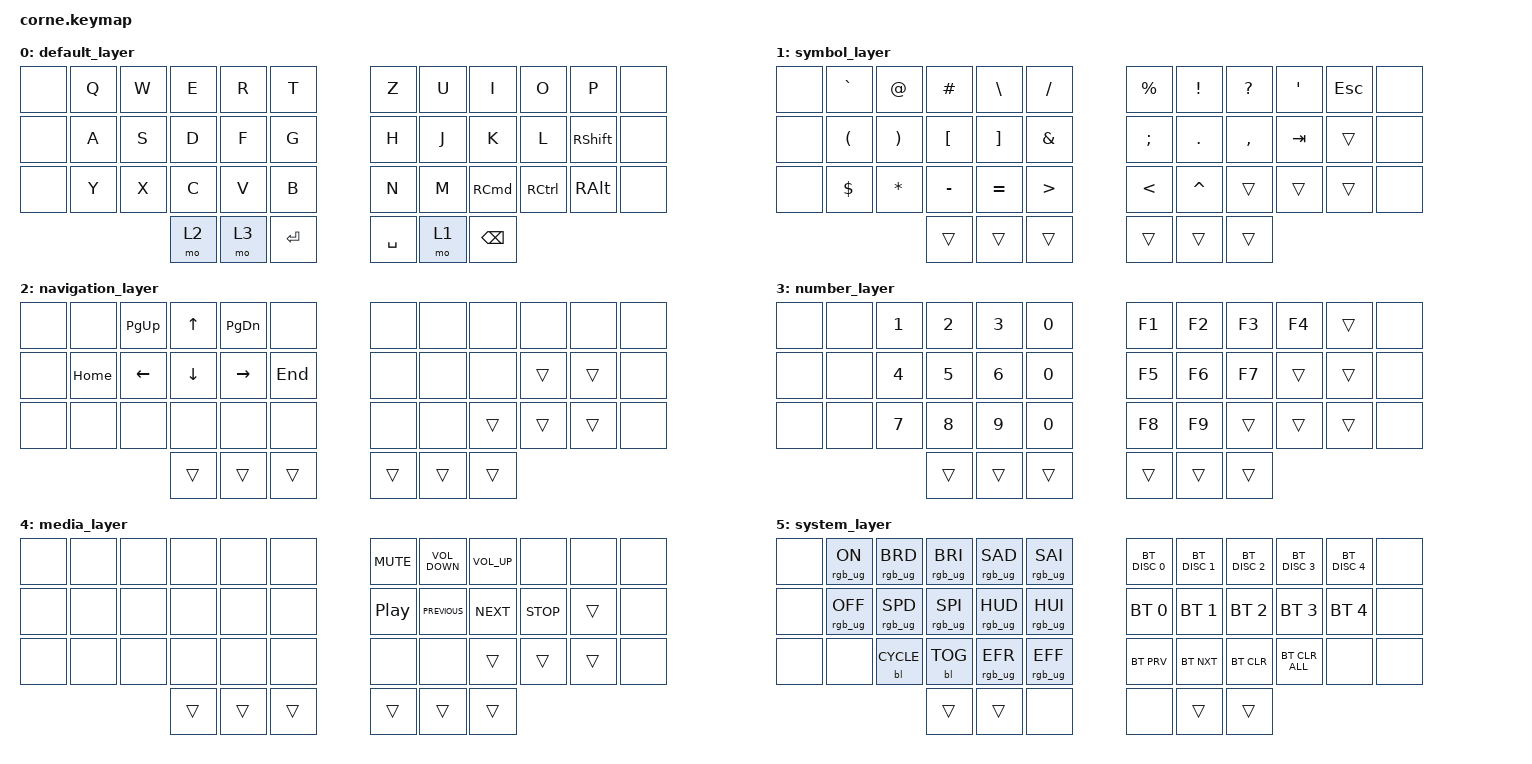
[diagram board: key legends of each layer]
/*
 * Copyright (c) 2020 The ZMK Contributors
 *
 * SPDX-License-Identifier: MIT
 */

#include <behaviors.dtsi>
#include <dt-bindings/zmk/backlight.h>
#include <dt-bindings/zmk/bt.h>
#include <dt-bindings/zmk/keys.h>
#include <dt-bindings/zmk/rgb.h>

&led_strip { chain-length = <24>; };

/ {
    combos {
        compatible = "zmk,combos";

        system_layer {
            bindings = <&mo 5>;
            key-positions = <36 41>;
        };

        medialayer {
            bindings = <&mo 4>;
            key-positions = <37 40>;
        };
    };

    keymap {
        compatible = "zmk,keymap";

        default_layer {
            // -----------------------------------------------------------------------------------------
            // |  TAB |  Q  |  W  |  E  |  R  |  T  |   |  Y  |  U   |  I  |  O  |  P  | BKSP |
            // | CTRL |  A  |  S  |  D  |  F  |  G  |   |  H  |  J   |  K  |  L  |  ;  |  '   |
            // | SHFT |  Z  |  X  |  C  |  V  |  B  |   |  N  |  M   |  ,  |  .  |  /  | ESC  |
            //                    | GUI | LWR | SPC |   | ENT | RSE  | ALT |

            bindings = <
&none  &kp Q  &kp W  &kp E  &kp R  &kp T        &kp Z      &kp U  &kp I          &kp O      &kp P            &none
&none  &kp A  &kp S  &kp D  &kp F  &kp G        &kp H      &kp J  &kp K          &kp L      &kp RIGHT_SHIFT  &none
&none  &kp Y  &kp X  &kp C  &kp V  &kp B        &kp N      &kp M  &kp RCMD       &kp RCTRL  &kp RALT         &none
                     &mo 2  &mo 3  &kp ENTER    &kp SPACE  &mo 1  &kp BACKSPACE
            >;
        };

        symbol_layer {
            // -----------------------------------------------------------------------------------------
            // |  TAB |  !  |  @  |  #  |  $  |  %  |   |  ^  |  &  |  *  |  (  |  )  | BKSP |
            // | CTRL |     |     |     |     |     |   |  -  |  =  |  [  |  ]  |  \  |  `   |
            // | SHFT |     |     |     |     |     |   |  _  |  +  |  {  |  }  | "|" |  ~   |
            //                    | GUI |     | SPC |   | ENT |     | ALT |

            bindings = <
&none  &kp GRAVE             &kp AT                 &kp HASH          &kp BACKSLASH      &kp SLASH           &kp PERCENT    &kp EXCL   &kp QUESTION  &kp APOSTROPHE  &kp ESCAPE  &none
&none  &kp LEFT_PARENTHESIS  &kp RIGHT_PARENTHESIS  &kp LEFT_BRACKET  &kp RIGHT_BRACKET  &kp AMPERSAND       &kp SEMI       &kp DOT    &kp COMMA     &kp TAB         &trans      &none
&none  &kp DOLLAR            &kp STAR               &kp MINUS         &kp EQUAL          &kp GREATER_THAN    &kp LESS_THAN  &kp CARET  &trans        &trans          &trans      &none
                                                    &trans            &trans             &trans              &trans         &trans     &trans
            >;
        };

        navigation_layer {
            bindings = <
&none  &none     &kp PAGE_UP     &kp UP_ARROW    &kp PAGE_DOWN    &none      &none   &none   &none   &none   &none   &none
&none  &kp HOME  &kp LEFT_ARROW  &kp DOWN_ARROW  &kp RIGHT_ARROW  &kp END    &none   &none   &none   &trans  &trans  &none
&none  &none     &none           &none           &none            &none      &none   &none   &trans  &trans  &trans  &none
                                 &trans          &trans           &trans     &trans  &trans  &trans
            >;
        };

        number_layer {
            bindings = <
&none  &none  &kp N1  &kp N2  &kp N3  &kp N0          &kp F1  &kp F2  &kp F3  &kp F4  &trans  &none
&none  &none  &kp N4  &kp N5  &kp N6  &kp N0          &kp F5  &kp F6  &kp F7  &trans  &trans  &none
&none  &none  &kp N7  &kp N8  &kp N9  &kp NUMBER_0    &kp F8  &kp F9  &trans  &trans  &trans  &none
                      &trans  &trans  &trans          &trans  &trans  &trans
            >;
        };

        media_layer {
            bindings = <
&none  &none  &none  &none   &none   &none     &kp C_MUTE        &kp C_VOLUME_DOWN  &kp C_VOLUME_UP  &none       &none   &none
&none  &none  &none  &none   &none   &none     &kp C_PLAY_PAUSE  &kp C_PREVIOUS     &kp C_NEXT       &kp C_STOP  &trans  &none
&none  &none  &none  &none   &none   &none     &none             &none              &trans           &trans      &trans  &none
                     &trans  &trans  &trans    &trans            &trans             &trans
            >;
        };

        system_layer {
            // -----------------------------------------------------------------------------------------
            // |  TAB |  1  |  2  |  3  |  4  |  5  |   |  6  |  7  |  8  |  9  |  0  | BKSP |
            // | BTCLR| BT1 | BT2 | BT3 | BT4 | BT5 |   | LFT | DWN |  UP | RGT |     |      |
            // | SHFT |     |     |     |     |     |   |     |     |     |     |     |      |
            //                    | GUI |     | SPC |   | ENT |     | ALT |

            bindings = <
&none  &rgb_ug RGB_ON   &rgb_ug RGB_BRD  &rgb_ug RGB_BRI  &rgb_ug RGB_SAD  &rgb_ug RGB_SAI    &bt BT_DISC 0  &bt BT_DISC 1  &bt BT_DISC 2  &bt BT_DISC 3   &bt BT_DISC 4  &none
&none  &rgb_ug RGB_OFF  &rgb_ug RGB_SPD  &rgb_ug RGB_SPI  &rgb_ug RGB_HUD  &rgb_ug RGB_HUI    &bt BT_SEL 0   &bt BT_SEL 1   &bt BT_SEL 2   &bt BT_SEL 3    &bt BT_SEL 4   &none
&none  &none            &bl BL_CYCLE     &bl BL_TOG       &rgb_ug RGB_EFR  &rgb_ug RGB_EFF    &bt BT_PRV     &bt BT_NXT     &bt BT_CLR     &bt BT_CLR_ALL  &none          &none
                                         &trans           &trans           &none              &none          &trans         &trans
            >;
        };
    };

    conditional_layers { compatible = "zmk,conditional-layers"; };
};
